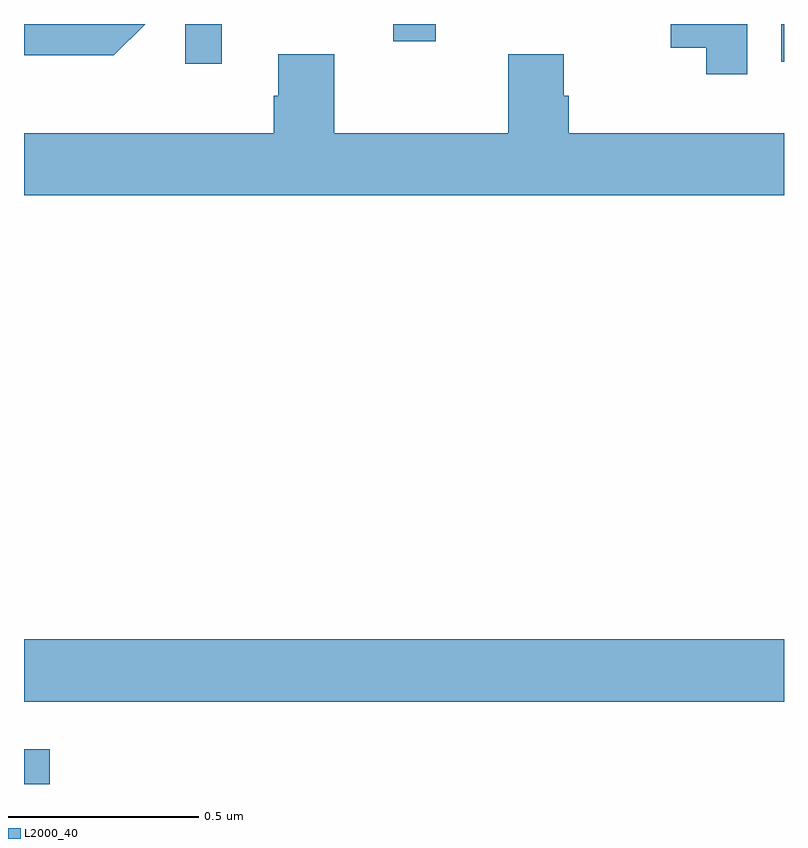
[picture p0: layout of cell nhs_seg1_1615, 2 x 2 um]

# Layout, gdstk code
import gdstk
lib = gdstk.Library(unit=1e-6, precision=1e-09)
def R(c, l, rs):  # rectangles x0, y0, x1, y1
    for r in rs: c.add(gdstk.rectangle(r[:2], r[2:], *l))
def P(c, l, *ps):  # polygons
    for p in ps: c.add(gdstk.Polygon(p, *l))
L2000_40 = (2000, 40)

nhs_seg1_1615 = lib.new_cell('nhs_seg1_1615')
R(nhs_seg1_1615, L2000_40, [(131,534.199,131.068,534.291), (131,534.416,133,534.58), (131.424,536.094,131.521,536.199), (132.993,536.1,133,536.199), (131.972,536.154,132.083,536.199)])
P(nhs_seg1_1615, L2000_40, [(131.319,536.199),(131,536.199),(131,536.117),(131.236,536.117)],
  [(132.903,536.199),(132.702,536.199),(132.702,536.137),(132.795,536.137),(132.795,536.067),(132.903,536.067)],
  [(133,535.912),(132.434,535.912),(132.434,536.01),(132.421,536.01),(132.421,536.12),(132.274,536.12),(132.274,535.912),(131.817,535.912),(131.817,536.12),(131.669,536.12),(131.669,536.01),(131.657,536.01),(131.657,535.912),(131,535.912),(131,535.748),(133,535.748)])

lib.write_gds('nhs_seg1_1615.gds')
